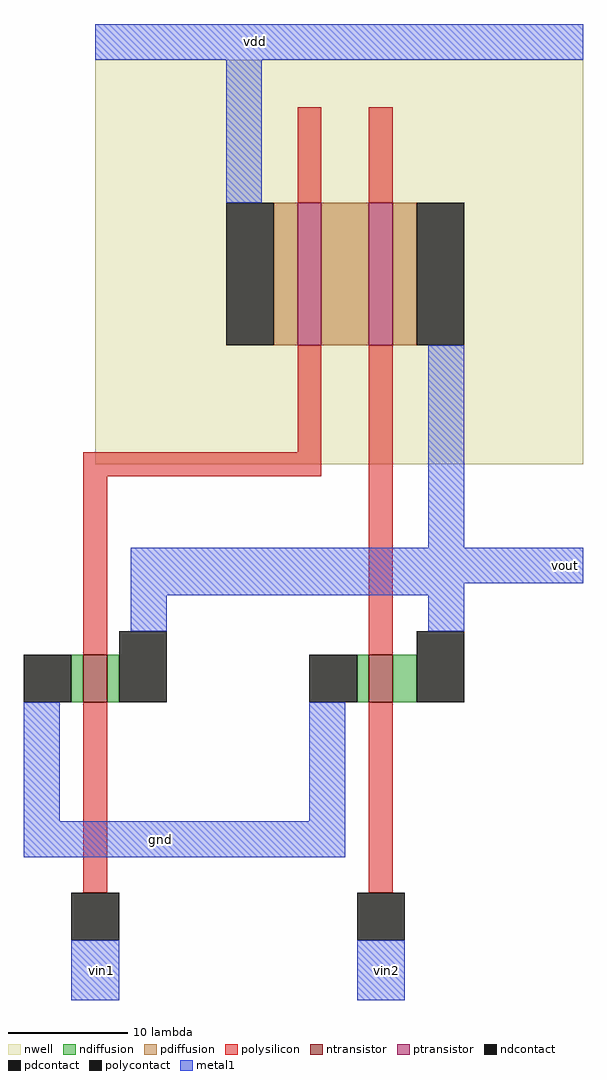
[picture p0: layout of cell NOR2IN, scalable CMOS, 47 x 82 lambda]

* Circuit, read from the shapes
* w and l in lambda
.subckt NOR2IN gnd vdd vin1 vin2 vout
M1 vout vin1 gnd VSUBS nfet w=4 l=2
M2 vout vin2 gnd VSUBS nfet w=4 l=2
M3 n1 vin1 vdd n2 pfet w=12 l=2
M4 vout vin2 n1 n2 pfet w=12 l=2
.ends

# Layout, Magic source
magic
tech scmos
<< nwell >>
rect -19 -9 22 25
<< ntransistor >>
rect -20 -29 -18 -25
rect 4 -29 6 -25
<< ptransistor >>
rect -2 1 0 13
rect 4 1 6 13
<< ndiffusion >>
rect -21 -29 -20 -25
rect -18 -29 -17 -25
rect 3 -29 4 -25
rect 6 -29 8 -25
<< pdiffusion >>
rect -4 1 -2 13
rect 0 1 4 13
rect 6 1 8 13
<< ndcontact >>
rect -25 -29 -21 -25
rect -17 -29 -13 -23
rect -1 -29 3 -25
rect 8 -29 12 -23
<< pdcontact >>
rect -8 1 -4 13
rect 8 1 12 13
<< polysilicon >>
rect -2 13 0 21
rect 4 13 6 21
rect -2 -8 0 1
rect -20 -10 0 -8
rect -20 -25 -18 -10
rect 4 -25 6 1
rect -20 -45 -18 -29
rect 4 -45 6 -29
<< polycontact >>
rect -21 -49 -17 -45
rect 3 -49 7 -45
<< metal1 >>
rect -19 25 22 28
rect -8 13 -5 25
rect 9 -16 12 1
rect -16 -19 22 -16
rect -16 -20 12 -19
rect -16 -23 -13 -20
rect 9 -23 12 -20
rect -25 -39 -22 -29
rect -1 -39 2 -29
rect -25 -42 2 -39
rect -21 -54 -17 -49
rect 3 -54 7 -49
<< labels >>
rlabel metal1 -6 26 -5 27 5 vdd
rlabel metal1 -14 -41 -13 -40 1 gnd
rlabel metal1 -19 -52 -18 -51 1 vin1
rlabel metal1 5 -52 6 -51 1 vin2
rlabel metal1 20 -18 21 -17 7 vout
<< end >>
